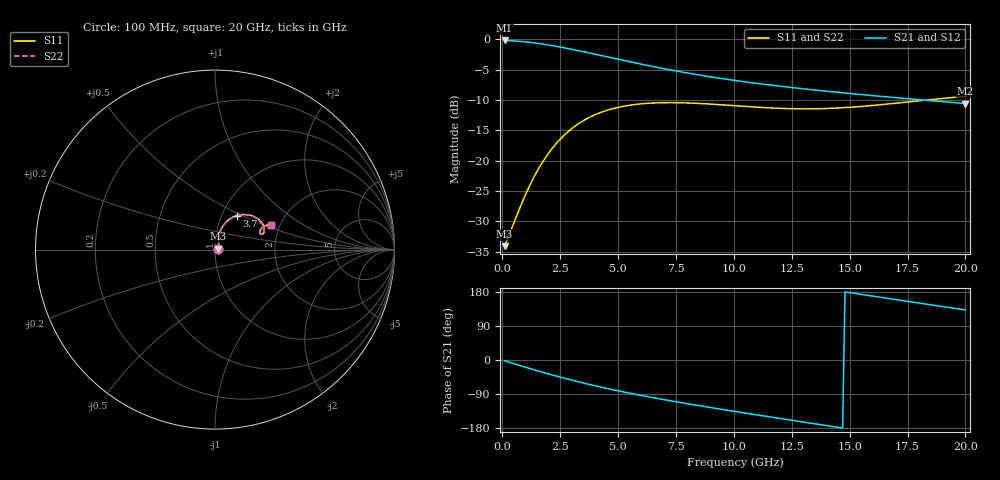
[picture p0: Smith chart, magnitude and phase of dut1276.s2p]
! Touchstone file exported from HFSS 2024.1.0
!  File:  C:/UserFiles/LocalFiles/RDL_TSV_Batchsim/temp_RDL_TSV_1276_1780275893.aedt
!  Generated:  09:21:08 AM Jun  1, 2026
!  Design:  RDL_TSV
!  Project:  temp_RDL_TSV_1276_1780275893
!  Setup:  Setup1
!  Solution:  Sweep
! Variables:
!  dtsv = 7.88um
!  hbump = 3um
!  htsv = 88.03um
!  ldown = 546.47um
!  lrdl = 387.91um
!  p = 40
!  p1 = 51.52um
!  rhole = 10um
!  subl = 3191.05um
!  t = 450um
!  tdown = 4.36um
!  trdl = 3.01um
!  viad = 10um
!  wdown = 12.32um
!  wrdl = 25.54um
!  xbump = 18um
# GHz S MA R 50.000000
! Terminal data exported
! Port[1] = TM1_1_T1
! Port[2] = TM1_4_T1
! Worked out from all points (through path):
!   200 points, 100 MHz to 20 GHz, reference 50 ohm
!   highest |S21| = -0.17 dB at 100 MHz (marker M1); lowest = -10.6 dB at 20 GHz (marker M2)
!   group delay of S21, straight-line fit = 29.7 ps
!   lowest |S11| = -34.1 dB at 100 MHz (marker M3), VSWR 1.04, Z = 51.9 + j0.539 ohm
!   |S11| at or under -10 dB: start of sweep to 18.31 GHz
!   |S22| runs from -34.1 to -9.4 dB; largest |S21 - S12| = 4.1e-14
!   S11 on the Smith chart (normalised r, x): 100 MHz: 1.04, +0.01; 3.7 GHz: 1.17, +0.47; 20 GHz: 1.79, +0.55
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0.1  0.01972 15.2  0.9807 -2.0  0.9807 -2.0  0.01972 15.2
! Gamma 0 0 0 0
! Port Impedance 50 0 50 0
0.5  0.03071 49.5  0.9729 -9.7  0.9729 -9.7  0.03072 49.5
1  0.05234 68.2  0.9553 -19.1  0.9553 -19.1  0.05233 68.1
1.3  0.06914 72.7  0.941 -24.6  0.941 -24.6  0.0691 72.6
1.7  0.09474 74.4  0.9183 -31.7  0.9183 -31.7  0.09464 74.3
2.1  0.1224 73.1  0.8927 -38.6  0.8927 -38.6  0.1222 73.0
2.5  0.1505 70.1  0.865 -45.2  0.865 -45.2  0.1502 69.9
3  0.1839 65.1  0.8288 -53.2  0.8288 -53.2  0.1836 65.0
3.5  0.2138 59.6  0.792 -60.7  0.792 -60.7  0.2134 59.5
3.7  0.2245 57.4  0.7773 -63.6  0.7773 -63.6  0.224 57.3
4.4  0.2558 49.8  0.7271 -73.4  0.7271 -73.4  0.2552 49.7
5.2  0.2802 42.1  0.6735 -83.8  0.6735 -83.8  0.2794 42.0
6  0.2944 35.4  0.6251 -93.5  0.6251 -93.5  0.2934 35.3
6.8  0.3004 29.9  0.5824 -102.6  0.5824 -102.6  0.2994 29.8
8.3  0.2977 22.6  0.5166 -118.5  0.5166 -118.5  0.2964 22.5
10.1  0.2834 18.4  0.4574 -136.3  0.4574 -136.3  0.282 18.3
11.7  0.2716 18.2  0.4176 -151.6  0.4176 -151.6  0.2701 18.3
13.4  0.2678 20.5  0.3842 -167.5  0.3842 -167.5  0.2664 20.7
15  0.2755 23.3  0.3582 177.7  0.3582 177.7  0.2743 23.5
16.7  0.2939 25.2  0.3345 162.0  0.3345 162.0  0.2929 25.4
18.4  0.3174 25.2  0.3136 146.5  0.3136 146.5  0.3167 25.4
20  0.3394 23.8  0.2961 132.1  0.2961 132.1  0.3388 23.9
